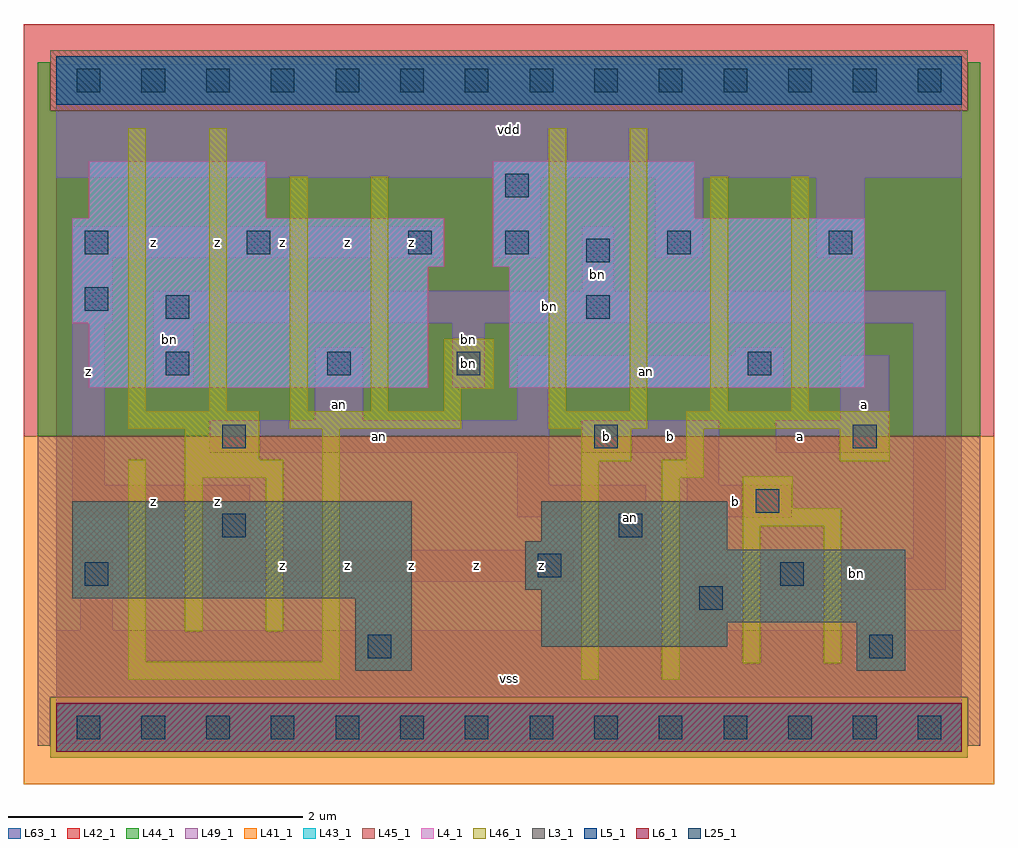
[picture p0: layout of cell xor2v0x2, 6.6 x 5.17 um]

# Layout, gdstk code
import gdstk
lib = gdstk.Library(unit=1e-6, precision=1e-09)
def R(c, l, rs):  # rectangles x0, y0, x1, y1
    for r in rs: c.add(gdstk.rectangle(r[:2], r[2:], *l))
def A(c, l, x, y, w, h, nx, ny, dx, dy):  # array of equal rectangles
    R(c, l, [(x+i*dx, y+j*dy, x+i*dx+w, y+j*dy+h) for i in range(nx) for j in range(ny)])
L3_1 = (3, 1)
L4_1 = (4, 1)
L5_1 = (5, 1)
L6_1 = (6, 1)
L25_1 = (25, 1)
L41_1 = (41, 1)
L42_1 = (42, 1)
L43_1 = (43, 1)
L44_1 = (44, 1)
L45_1 = (45, 1)
L46_1 = (46, 1)
L49_1 = (49, 1)
L63_1 = (63, 1)

xor2v0x2 = lib.new_cell('xor2v0x2')
R(xor2v0x2, L3_1, [(2.035,0.385,2.42,0.88), (5.445,0.385,5.775,0.715), (3.3,0.55,4.565,0.715), (3.3,0.715,5.775,0.935), (0.11,0.88,2.42,1.54), (3.19,0.935,5.775,1.21), (3.19,1.21,4.565,1.265), (3.3,1.265,4.565,1.54)])
R(xor2v0x2, L4_1, [(0.22,2.31,2.53,2.75), (3.08,2.31,5.5,3.135), (0.11,2.75,2.53,3.135), (0.11,3.135,2.64,3.465), (2.97,3.135,5.5,3.465), (0.22,3.465,1.43,3.85), (2.97,3.465,4.345,3.85)])
R(xor2v0x2, L5_1, [(0,4.235,6.16,4.565)])
R(xor2v0x2, L6_1, [(0,-0.165,6.16,0.165)])
A(xor2v0x2, L25_1, 0.14, -0.08, 0.16, 0.16, 14, 2, 0.44, 4.4)
A(xor2v0x2, L25_1, 0.195, 3.22, 0.16, 0.16, 3, 1, 1.1, 0)
A(xor2v0x2, L25_1, 3.055, 3.22, 0.16, 0.16, 3, 1, 1.1, 0)
R(xor2v0x2, L25_1, [(2.12,0.47,2.28,0.63), (5.53,0.47,5.69,0.63), (4.375,0.8,4.535,0.96), (0.195,0.965,0.355,1.125), (4.925,0.965,5.085,1.125), (3.275,1.02,3.435,1.18), (1.13,1.295,1.29,1.455), (3.825,1.295,3.985,1.455), (4.76,1.46,4.92,1.62), (1.13,1.9,1.29,2.06), (3.66,1.9,3.82,2.06), (5.42,1.9,5.58,2.06), (0.745,2.395,0.905,2.555), (1.845,2.395,2.005,2.555), (2.725,2.395,2.885,2.555), (4.705,2.395,4.865,2.555), (0.745,2.78,0.905,2.94), (3.605,2.78,3.765,2.94), (0.195,2.835,0.355,2.995), (3.605,3.165,3.765,3.325), (3.055,3.605,3.215,3.765)])
R(xor2v0x2, L41_1, [(-0.22,-0.385,6.38,1.98)])
R(xor2v0x2, L42_1, [(-0.22,1.98,6.38,4.785)])
R(xor2v0x2, L43_1, [(0,-0.165,6.16,0.165), (2.035,0.385,2.42,0.88), (5.445,0.385,5.775,0.715), (3.3,0.55,4.565,0.715), (3.3,0.715,5.775,0.935), (0.11,0.88,2.42,1.54), (3.19,0.935,5.775,1.21), (3.19,1.21,4.565,1.265), (3.3,1.265,4.565,1.54), (0.22,2.31,2.53,2.75), (3.08,2.31,5.5,3.135), (0.11,2.75,2.53,3.135), (0.11,3.135,2.64,3.465), (2.97,3.135,5.5,3.465), (0.22,3.465,1.43,3.85), (2.97,3.465,4.345,3.85), (0,4.235,6.16,4.565)])
R(xor2v0x2, L44_1, [(-0.04,-0.205,6.2,0.205), (-0.125,1.98,6.285,4.195), (-0.125,4.195,-0.04,4.525), (6.2,4.195,6.285,4.525)])
R(xor2v0x2, L45_1, [(-0.125,-0.125,-0.04,0.205), (6.2,-0.125,6.285,0.205), (-0.125,0.205,6.285,1.98), (-0.04,4.195,6.2,4.605)])
R(xor2v0x2, L46_1, [(0.49,0.325,1.93,0.445), (3.57,0.325,3.69,1.81), (4.12,0.325,4.24,1.7), (4.67,0.435,4.79,1.37), (5.22,0.435,5.34,1.37), (0.49,0.445,0.61,1.82), (1.81,0.445,1.93,2.03), (0.875,0.655,0.995,1.7), (1.425,0.655,1.545,1.7), (4.67,1.37,5.34,1.49), (4.67,1.49,5.01,1.71), (0.875,1.7,1.545,1.82), (4.12,1.7,4.405,1.82), (3.57,1.81,3.91,2.03), (5.33,1.81,5.67,2.03), (0.875,1.82,1.38,2.03), (4.285,1.82,4.405,2.03), (0.49,2.03,1.38,2.15), (1.59,2.03,2.755,2.15), (3.35,2.03,4.02,2.15), (4.285,2.03,5.67,2.15), (0.49,2.15,0.61,4.075), (1.04,2.15,1.16,4.075), (1.59,2.15,1.71,3.745), (2.14,2.15,2.26,3.745), (2.635,2.15,2.755,2.305), (3.35,2.15,3.47,4.075), (3.9,2.15,4.02,4.075), (4.45,2.15,4.57,3.745), (5,2.15,5.12,3.745), (2.635,2.305,2.975,2.645)])
A(xor2v0x2, L49_1, 2.97, 3.19, 0.33, 0.55, 3, 1, 1.1, 0)
R(xor2v0x2, L49_1, [(0,-0.11,6.16,0.66), (0.165,0.66,0.385,1.21), (4.345,0.66,4.565,1.045), (4.84,0.935,6.05,1.155), (1.1,0.99,3.52,1.21), (5.83,1.155,6.05,2.75), (1.1,1.21,1.32,1.43), (3.795,1.21,4.015,1.43), (0.11,1.43,1.32,1.65), (3.135,1.43,4.015,1.65), (4.29,1.43,5.005,1.65), (0.11,1.65,0.33,2.75), (3.135,1.65,3.355,1.87), (4.29,1.65,4.51,1.87), (1.045,1.87,3.355,2.09), (3.575,1.87,4.51,2.09), (4.895,1.87,5.665,2.09), (1.76,2.09,2.09,2.585), (3.135,2.09,3.355,2.31), (5.335,2.09,5.665,2.53), (0.66,2.31,0.935,2.75), (2.695,2.31,2.915,2.75), (3.135,2.31,4.95,2.53), (4.62,2.53,4.95,2.585), (0.11,2.75,0.385,3.19), (0.66,2.75,6.05,2.97), (3.575,2.97,3.795,3.41), (0.11,3.19,2.64,3.41), (0,3.74,6.16,4.51)])
R(xor2v0x2, L63_1, [(0,0,6.16,4.4)])
xor2v0x2.add(gdstk.Label('bn', (2.805,2.475), layer=49, texttype=1))
xor2v0x2.add(gdstk.Label('z', (0.66,1.54), layer=49, texttype=1))
xor2v0x2.add(gdstk.Label('z', (0.22,2.42), layer=49, texttype=1))
xor2v0x2.add(gdstk.Label('bn', (0.77,2.64), layer=49, texttype=1))
xor2v0x2.add(gdstk.Label('z', (0.66,3.3), layer=49, texttype=1))
xor2v0x2.add(gdstk.Label('z', (1.1,1.54), layer=49, texttype=1))
xor2v0x2.add(gdstk.Label('z', (1.98,1.1), layer=49, texttype=1))
xor2v0x2.add(gdstk.Label('z', (1.54,1.1), layer=49, texttype=1))
xor2v0x2.add(gdstk.Label('an', (1.925,2.2), layer=49, texttype=1))
xor2v0x2.add(gdstk.Label('z', (1.1,3.3), layer=49, texttype=1))
xor2v0x2.add(gdstk.Label('z', (1.98,3.3), layer=49, texttype=1))
xor2v0x2.add(gdstk.Label('z', (1.54,3.3), layer=49, texttype=1))
xor2v0x2.add(gdstk.Label('vss', (3.08,0.33), layer=49, texttype=1))
xor2v0x2.add(gdstk.Label('z', (2.42,1.1), layer=49, texttype=1))
xor2v0x2.add(gdstk.Label('z', (3.3,1.1), layer=49, texttype=1))
xor2v0x2.add(gdstk.Label('z', (2.86,1.1), layer=49, texttype=1))
xor2v0x2.add(gdstk.Label('an', (2.2,1.98), layer=49, texttype=1))
xor2v0x2.add(gdstk.Label('bn', (2.805,2.64), layer=49, texttype=1))
xor2v0x2.add(gdstk.Label('z', (2.42,3.3), layer=49, texttype=1))
xor2v0x2.add(gdstk.Label('vdd', (3.08,4.07), layer=49, texttype=1))
xor2v0x2.add(gdstk.Label('an', (3.905,1.43), layer=49, texttype=1))
xor2v0x2.add(gdstk.Label('b', (4.62,1.54), layer=49, texttype=1))
xor2v0x2.add(gdstk.Label('b', (3.74,1.98), layer=49, texttype=1))
xor2v0x2.add(gdstk.Label('an', (4.015,2.42), layer=49, texttype=1))
xor2v0x2.add(gdstk.Label('b', (4.18,1.98), layer=49, texttype=1))
xor2v0x2.add(gdstk.Label('bn', (3.685,3.08), layer=49, texttype=1))
xor2v0x2.add(gdstk.Label('bn', (5.445,1.045), layer=49, texttype=1))
xor2v0x2.add(gdstk.Label('a', (5.06,1.98), layer=49, texttype=1))
xor2v0x2.add(gdstk.Label('a', (5.5,2.2), layer=49, texttype=1))
xor2v0x2.add(gdstk.Label('bn', (3.355,2.86), layer=49, texttype=1))

lib.write_gds('xor2v0x2.gds')
